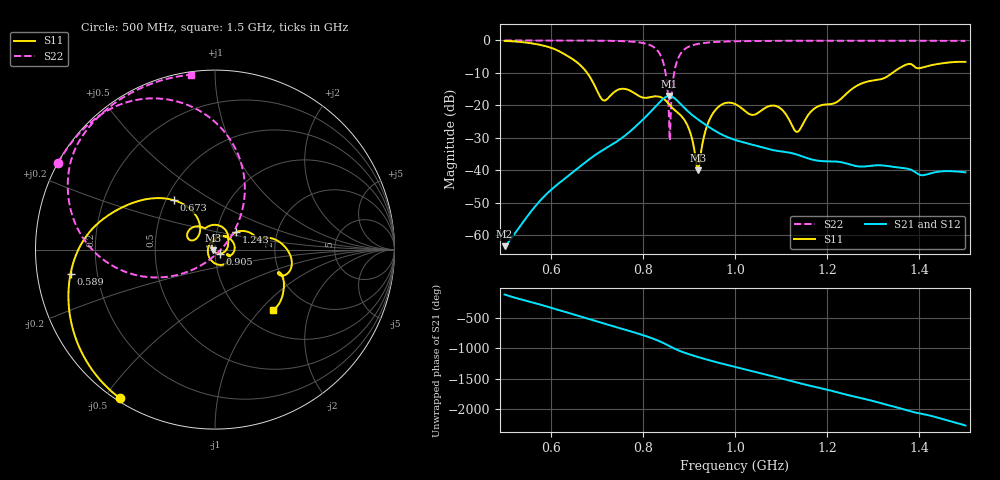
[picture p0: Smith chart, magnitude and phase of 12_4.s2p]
! TOUCHSTONE file generated by CST MICROWAVE STUDIO
! Date and time: Fri Oct  2 16:55:33 2020
! Project name: Scenario_1_Free_Space_out_of_line.cst
! Parameters = {Lambda=346.42; Step_1=17.321; dy1=156.889; dx1=693; L_HA=400; MT=2.54; Rad_Dielectric=30; Rad_Lower=7.3; Rad_Upper=30; a_HA=580; a_WG=246; b_HA=500; b_WG=121; c_HA=0; c_WG=187; d_feed=85; h_feed=15; h_lower=18; h_upper=40}
! Header version: 2018
! Port assignment regex: !\s*Touchstone port\s*([0-9]+)\s*=\s*(CST MWS port|CST DS port)\s*([0-9]+|Zmin|Zmax)\s*\(\"(.*)\"\)(\s*mode\s*([0-9]+))?.*
! Touchstone port assignment:
! Touchstone port 1 = CST MWS port 1 ("")
! Touchstone port 2 = CST MWS port 2 ("")
# GHz S DB R 50
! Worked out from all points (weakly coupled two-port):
!   1003 points, 500 MHz to 1.5 GHz, reference 50 ohm
!   highest |S21| = -17.11 dB at 857 MHz (marker M1); lowest = -63.3 dB at 500 MHz (marker M2)
!   lowest |S11| = -39.9 dB at 920 MHz (marker M3), VSWR 1.02, Z = 49.1 - j0.483 ohm
!   |S11| at or under -10 dB: 679.2 MHz to 1.341 GHz (662.2 MHz wide, 65.5 % of centre)
!   |S22| runs from -30.7 to 0.0 dB; largest |S21 - S12| = 0.00058
!   S11 on the Smith chart (normalised r, x): 500 MHz: 0.01, -0.55; 589 MHz: 0.10, -0.08; 673 MHz: 0.55, +0.35; 905 MHz: 1.05, -0.05; 1.243 GHz: 1.24, +0.25; 1.5 GHz: 1.36, -1.19
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0.5  -0.15 -122.6  -63.29 -121.1  -63.00 -121.5  -0.01 151.2
0.589  -1.76 -170.5  -47.53 48.5  -47.61 50.3  -0.02 145.0
0.667  -7.97 134.5  -38.41 -125.1  -38.41 -125.2  -0.04 138.3
0.673  -8.89 129.9  -37.73 -138.7  -37.73 -138.7  -0.05 137.7
0.715  -18.47 141.3  -33.57 125.2  -33.58 125.6  -0.10 132.9
0.788  -16.79 120.1  -25.99 -36.5  -25.99 -36.5  -0.52 117.6
0.834  -17.26 84.2  -19.34 -159.1  -19.33 -159.1  -3.51 86.2
0.847  -18.17 61.4  -17.64 156.0  -17.64 156.0  -8.30 64.4
0.857  -19.65 45.2  -17.11 117.4  -17.11 117.4  -24.68 24.1
0.861  -20.29 39.8  -17.19 101.7  -17.19 101.7  -20.76 -126.6
0.875  -22.10 21.3  -18.57 50.9  -18.57 50.9  -6.06 -164.8
0.905  -29.34 -41.7  -22.70 -31.3  -22.69 -31.3  -1.62 165.1
0.92  -39.92 -150.9  -24.34 -66.1  -24.34 -66.1  -1.07 158.0
0.951  -22.69 72.9  -27.32 -132.5  -27.33 -132.5  -0.54 148.9
1  -19.56 -7.8  -30.60 133.6  -30.59 133.5  -0.26 140.2
1.037  -22.90 -22.7  -32.05 63.0  -32.04 63.0  -0.18 135.8
1.092  -20.34 -59.8  -33.98 -40.1  -34.00 -41.6  -0.13 130.4
1.134  -28.14 172.3  -35.10 -122.6  -35.07 -122.6  -0.11 126.9
1.167  -21.58 65.9  -36.63 176.5  -36.64 176.5  -0.09 124.2
1.243  -16.23 39.5  -37.91 35.2  -37.91 35.2  -0.09 118.4
1.334  -10.76 13.1  -38.68 -137.2  -38.67 -137.4  -0.09 111.5
1.5  -6.57 -46.3  -40.57 -106.8  -40.57 -106.8  -0.14 97.9
